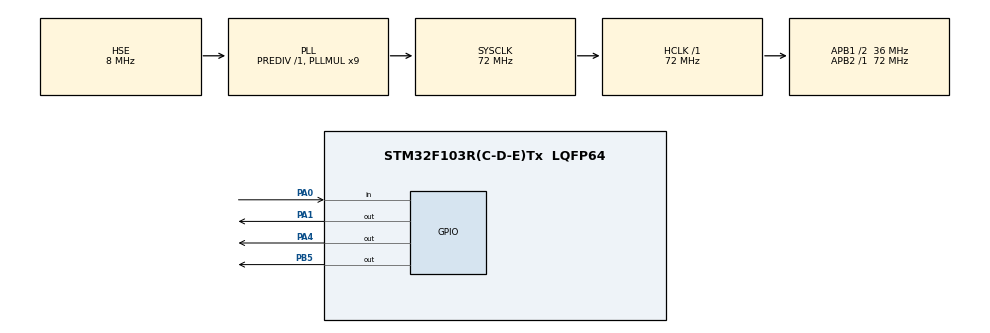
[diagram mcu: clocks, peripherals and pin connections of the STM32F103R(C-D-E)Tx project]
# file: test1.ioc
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Mcu.Family=STM32F1
Mcu.Name=STM32F103R(C-D-E)Tx
Mcu.Package=LQFP64
NVIC.PriorityGroup=NVIC_PRIORITYGROUP_4
PA0-WKUP.Signal=GPIO_Input
PA1.Signal=GPIO_Output
PA13.Mode=Serial_Wire
PA13.Signal=SYS_JTMS-SWDIO
PA14.Mode=Serial_Wire
PA14.Signal=SYS_JTCK-SWCLK
PA4.Signal=GPIO_Output
PB5.Signal=GPIO_Output
PD0-OSC_IN.Mode=HSE-External-Oscillator
PD0-OSC_IN.Signal=RCC_OSC_IN
PD1-OSC_OUT.Mode=HSE-External-Oscillator
PD1-OSC_OUT.Signal=RCC_OSC_OUT
ProjectManager.HeapSize=0x200
ProjectManager.StackSize=0x400
ProjectManager.TargetToolchain=EWARM V7
RCC.AHBFreq_Value=72000000
RCC.APB1CLKDivider=RCC_HCLK_DIV2
RCC.APB1Freq_Value=36000000
RCC.APB1TimFreq_Value=72000000
RCC.APB2Freq_Value=72000000
RCC.APB2TimFreq_Value=72000000
RCC.HCLKFreq_Value=72000000
RCC.PLLMUL=RCC_PLL_MUL9
RCC.PLLSourceVirtual=RCC_PLLSOURCE_HSE
RCC.SYSCLKFreq_VALUE=72000000
RCC.SYSCLKSource=RCC_SYSCLKSOURCE_PLLCLK
RCC.USBFreq_Value=72000000
board=custom

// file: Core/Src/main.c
/* USER CODE BEGIN Header */
/**
  ******************************************************************************
  * @file           : main.c
  * @brief          : Main program body
  ******************************************************************************
  * @attention
  *
  * Copyright (c) 2025 STMicroelectronics.
  * All rights reserved.
  *
  * This software is licensed under terms that can be found in the LICENSE file
  * in the root directory of this software component.
  * If no LICENSE file comes with this software, it is provided AS-IS.
  *
  ******************************************************************************
  */
/* USER CODE END Header */
#include "main.h"

/* USER CODE BEGIN Includes */

#include "stm32f4xx_hal.h"

/* USER CODE END Includes */

/* USER CODE BEGIN PD */
#define BUTTON_PIN GPIO_PIN_0
#define BUTTON_PORT GPIOA
#define DEBOUNECE_TIME 50
#define LONG_PRESS_TIME 3000
/* USER CODE END PD */

/* USER CODE BEGIN PV */

static uint32_t button_press_time = 0;  // 버튼 누른 시간 (밀리초 단위)
static uint32_t button_release_time = 0;  // 버튼 뗀 시간
static uint8_t button_state = 0;  // 버튼 상태 (0: 떼어짐, 1: 눌림)
/* USER CODE END PV */

void SystemClock_Config(void);
static void MX_GPIO_Init(void);

int read_button();
void delaySound(void);

int main(void)
{

  /* MCU Configuration--------------------------------------------------------*/

  /* Reset of all peripherals, Initializes the Flash interface and the Systick. */
  HAL_Init();

  /* Configure the system clock */
  SystemClock_Config();

  /* Initialize all configured peripherals */
  MX_GPIO_Init();

  /* Infinite loop */
  /* USER CODE BEGIN WHILE */
  while (1)
  {

    if(HAL_GPIO_ReadPin(GPIOA,GPIO_PIN_0)==GPIO_PIN_RESET){

      HAL_GPIO_WritePin(GPIOA,GPIO_PIN_1,1); //pwr on
      HAL_GPIO_WritePin(GPIOB,GPIO_PIN_5,1); //Led on
      delaySound();
    }else{
      //HAL_GPIO_WritePin(GPIOA,GPIO_PIN_1,0);
    }

    /* USER CODE END WHILE */

  }
}

void SystemClock_Config(void)
{
  RCC_OscInitTypeDef RCC_OscInitStruct = {0};
  RCC_ClkInitTypeDef RCC_ClkInitStruct = {0};

  /** Initializes the RCC Oscillators according to the specified parameters
  * in the RCC_OscInitTypeDef structure.
  */
  RCC_OscInitStruct.OscillatorType = RCC_OSCILLATORTYPE_HSE;
  RCC_OscInitStruct.HSEState = RCC_HSE_ON;
  RCC_OscInitStruct.HSEPredivValue = RCC_HSE_PREDIV_DIV1;
  RCC_OscInitStruct.HSIState = RCC_HSI_ON;
  RCC_OscInitStruct.PLL.PLLState = RCC_PLL_ON;
  RCC_OscInitStruct.PLL.PLLSource = RCC_PLLSOURCE_HSE;
  RCC_OscInitStruct.PLL.PLLMUL = RCC_PLL_MUL9;
  if (HAL_RCC_OscConfig(&RCC_OscInitStruct) != HAL_OK)
  {
    Error_Handler();
  }

  /** Initializes the CPU, AHB and APB buses clocks
  */
  RCC_ClkInitStruct.ClockType = RCC_CLOCKTYPE_HCLK|RCC_CLOCKTYPE_SYSCLK
                              |RCC_CLOCKTYPE_PCLK1|RCC_CLOCKTYPE_PCLK2;
  RCC_ClkInitStruct.SYSCLKSource = RCC_SYSCLKSOURCE_PLLCLK;
  RCC_ClkInitStruct.AHBCLKDivider = RCC_SYSCLK_DIV1;
  RCC_ClkInitStruct.APB1CLKDivider = RCC_HCLK_DIV2;
  RCC_ClkInitStruct.APB2CLKDivider = RCC_HCLK_DIV1;

  if (HAL_RCC_ClockConfig(&RCC_ClkInitStruct, FLASH_LATENCY_2) != HAL_OK)
  {
    Error_Handler();
  }
}

static void MX_GPIO_Init(void)
{
  GPIO_InitTypeDef GPIO_InitStruct = {0};

  /* GPIO Ports Clock Enable */
  __HAL_RCC_GPIOD_CLK_ENABLE();
  __HAL_RCC_GPIOA_CLK_ENABLE();
  __HAL_RCC_GPIOB_CLK_ENABLE();

  /*Configure GPIO pin Output Level */
  HAL_GPIO_WritePin(GPIOA, GPIO_PIN_1|GPIO_PIN_4, GPIO_PIN_RESET);

  /*Configure GPIO pin Output Level */
  HAL_GPIO_WritePin(GPIOB, GPIO_PIN_5, GPIO_PIN_RESET);

  /*Configure GPIO pin : PA0 */
  GPIO_InitStruct.Pin = GPIO_PIN_0;
  GPIO_InitStruct.Mode = GPIO_MODE_INPUT;
  GPIO_InitStruct.Pull = GPIO_NOPULL;
  HAL_GPIO_Init(GPIOA, &GPIO_InitStruct);

  /*Configure GPIO pins : PA1 PA4 */
  GPIO_InitStruct.Pin = GPIO_PIN_1|GPIO_PIN_4;
  GPIO_InitStruct.Mode = GPIO_MODE_OUTPUT_PP;
  GPIO_InitStruct.Pull = GPIO_NOPULL;
  GPIO_InitStruct.Speed = GPIO_SPEED_FREQ_LOW;
  HAL_GPIO_Init(GPIOA, &GPIO_InitStruct);

  /*Configure GPIO pin : PB5 */
  GPIO_InitStruct.Pin = GPIO_PIN_5;
  GPIO_InitStruct.Mode = GPIO_MODE_OUTPUT_PP;
  GPIO_InitStruct.Pull = GPIO_NOPULL;
  GPIO_InitStruct.Speed = GPIO_SPEED_FREQ_LOW;
  HAL_GPIO_Init(GPIOB, &GPIO_InitStruct);

}

/* USER CODE BEGIN 4 */

int read_button(){
  return HAL_GPIO_ReadPin(BUTTON_PORT, BUTTON_PIN) == GPIO_PIN_SET;
}

void delaySound(){
  HAL_GPIO_WritePin(GPIOA,GPIO_PIN_4,1);
  HAL_Delay(100);
  HAL_GPIO_WritePin(GPIOA,GPIO_PIN_4,0);

}

/* USER CODE END 4 */

void Error_Handler(void)
{
  __disable_irq();
  while (1)
  {
  }
}
